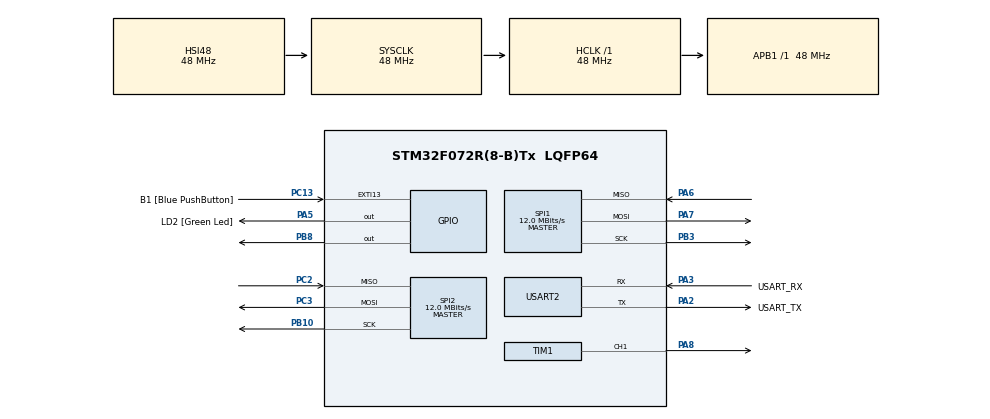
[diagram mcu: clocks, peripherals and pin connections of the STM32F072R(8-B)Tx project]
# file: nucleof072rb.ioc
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Mcu.Family=STM32F0
Mcu.Name=STM32F072R(8-B)Tx
Mcu.Package=LQFP64
PA13.GPIO_Label=TMS
PA13.Mode=Serial_Wire
PA13.Signal=SYS_SWDIO
PA14.GPIO_Label=TCK
PA14.Mode=Serial_Wire
PA14.Signal=SYS_SWCLK
PA2.GPIO_Label=USART_TX
PA2.GPIO_Mode=GPIO_MODE_AF_PP
PA2.GPIO_PuPd=GPIO_NOPULL
PA2.GPIO_Speed=GPIO_SPEED_FREQ_LOW
PA2.Mode=Asynchronous
PA2.Signal=USART2_TX
PA3.GPIO_Label=USART_RX
PA3.GPIO_Mode=GPIO_MODE_AF_PP
PA3.GPIO_PuPd=GPIO_NOPULL
PA3.GPIO_Speed=GPIO_SPEED_FREQ_LOW
PA3.Mode=Asynchronous
PA3.Signal=USART2_RX
PA5.GPIO_Label=LD2 [Green Led]
PA5.GPIO_Mode=GPIO_MODE_OUTPUT_PP
PA5.GPIO_PuPd=GPIO_NOPULL
PA5.GPIO_Speed=GPIO_SPEED_FREQ_LOW
PA5.Signal=GPIO_Output
PA6.Mode=Full_Duplex_Master
PA6.Signal=SPI1_MISO
PA7.Mode=Full_Duplex_Master
PA7.Signal=SPI1_MOSI
PA8.Signal=S_TIM1_CH1
PB10.Mode=Full_Duplex_Master
PB10.Signal=SPI2_SCK
PB3.Mode=Full_Duplex_Master
PB3.Signal=SPI1_SCK
PB8.Signal=GPIO_Output
PC13.GPIO_Label=B1 [Blue PushButton]
PC13.GPIO_ModeDefaultEXTI=GPIO_MODE_IT_FALLING
PC13.Signal=GPXTI13
PC14-OSC32_IN.Mode=LSE-External-Oscillator
PC14-OSC32_IN.Signal=RCC_OSC32_IN
PC15-OSC32_OUT.Mode=LSE-External-Oscillator
PC15-OSC32_OUT.Signal=RCC_OSC32_OUT
PC2.Mode=Full_Duplex_Master
PC2.Signal=SPI2_MISO
PC3.Mode=Full_Duplex_Master
PC3.Signal=SPI2_MOSI
PF0-OSC_IN.Mode=HSE-External-Clock-Source
PF0-OSC_IN.Signal=RCC_OSC_IN
PF1-OSC_OUT.Signal=RCC_OSC_OUT
ProjectManager.HeapSize=0x200
ProjectManager.StackSize=0x400
ProjectManager.TargetToolchain=STM32CubeIDE
RCC.AHBFreq_Value=48000000
RCC.APB1Freq_Value=48000000
RCC.APB1TimFreq_Value=48000000
RCC.FLatency-AdvancedSettings=FLASH_LATENCY_1
RCC.HCLKFreq_Value=48000000
RCC.PLLDivider=RCC_PREDIV_DIV2
RCC.PLLMUL=RCC_PLL_MUL12
RCC.PREFETCH_ENABLE-AdvancedSettings=1
RCC.SYSCLKFreq_VALUE=48000000
RCC.SYSCLKSource=RCC_SYSCLKSOURCE_HSI48
SH.S_TIM1_CH1.0=TIM1_CH1,PWM Generation1 CH1
SPI1.BaudRatePrescaler=SPI_BAUDRATEPRESCALER_4
SPI1.CalculateBaudRate=12.0 MBits/s
SPI1.DataSize=SPI_DATASIZE_8BIT
SPI1.Direction=SPI_DIRECTION_2LINES
SPI1.Mode=SPI_MODE_MASTER
SPI1.VirtualType=VM_MASTER
SPI2.BaudRatePrescaler=SPI_BAUDRATEPRESCALER_4
SPI2.CalculateBaudRate=12.0 MBits/s
SPI2.DataSize=SPI_DATASIZE_8BIT
SPI2.Direction=SPI_DIRECTION_2LINES
SPI2.Mode=SPI_MODE_MASTER
SPI2.VirtualType=VM_MASTER
TIM1.Channel-PWM\ Generation1\ CH1=TIM_CHANNEL_1
TIM1.Prescaler=95
USART2.VirtualMode=VM_ASYNC
USART2.VirtualMode-Asynchronous=VM_ASYNC
VP_TIM1_VS_ClockSourceINT.Mode=Internal
board=NUCLEO-F072RB

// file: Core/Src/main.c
/* USER CODE BEGIN Header */
/**
  ******************************************************************************
  * @file           : main.c
  * @brief          : Main program body
  ******************************************************************************
  * @attention
  *
  * <h2><center>&copy; Copyright (c) 2021 STMicroelectronics.
  * All rights reserved.</center></h2>
  *
  * This software component is licensed by ST under BSD 3-Clause license,
  * the "License"; You may not use this file except in compliance with the
  * License. You may obtain a copy of the License at:
  *                        opensource.org/licenses/BSD-3-Clause
  *
  ******************************************************************************
  */
/* USER CODE END Header */
#include "main.h"
#include "spi.h"
#include "tim.h"
#include "usart.h"
#include "gpio.h"

/* USER CODE BEGIN PV */
uint8_t tx_buffer[3];   // Bytes sent to ADC
uint8_t rx_buffer[3];   // Bytes received from ADC
uint16_t adc_value;
#define adc_channel 0
/* USER CODE END PV */

void SystemClock_Config(void);

int main(void)
{

  /* MCU Configuration--------------------------------------------------------*/

  /* Reset of all peripherals, Initializes the Flash interface and the Systick. */
  HAL_Init();

  /* Configure the system clock */
  SystemClock_Config();

  /* Initialize all configured peripherals */
  MX_GPIO_Init();
  MX_USART2_UART_Init();
  MX_SPI1_Init();
  MX_SPI2_Init();
  MX_TIM1_Init();

  /* USER CODE BEGIN 2 */
  HAL_TIM_PWM_Start(&htim1, TIM_CHANNEL_1); // start PWM
  /* USER CODE END 2 */

  /* Infinite loop */
  /* USER CODE BEGIN WHILE */
  while(1)
  {
      adc_value = read_adc(adc_channel);

      uint16_t pulse_counts = (adc_value * 65535) / 1023;

      __HAL_TIM_SET_COMPARE(&htim1, TIM_CHANNEL_1, pulse_counts);

      HAL_Delay(10);
  }

  /* USER CODE END 3 */
}

/* USER CODE BEGIN 4 */
uint16_t read_adc(uint8_t channel)
{
    uint16_t value = 0;

    HAL_GPIO_WritePin(GPIOA, GPIO_PIN_4, GPIO_PIN_RESET);
    tx_buffer[0] = 0x01;
    tx_buffer[1] = 0x80 | (channel << 4);
    tx_buffer[2] = 0x00;

    HAL_SPI_TransmitReceive(&hspi1, tx_buffer, rx_buffer, 3, HAL_MAX_DELAY);

    HAL_GPIO_WritePin(GPIOA, GPIO_PIN_4, GPIO_PIN_SET);

    value = ((rx_buffer[1] & 0x03) << 8) | rx_buffer[2];

    return value;
}
/* USER CODE END 4 */

void SystemClock_Config(void)
{
  RCC_OscInitTypeDef rcc_osc_init_struct = {0};
  RCC_ClkInitTypeDef rcc_clk_init_struct = {0};
  RCC_PeriphCLKInitTypeDef periph_clk_init = {0};

  /** Initializes the RCC Oscillators according to the specified parameters
  * in the RCC_OscInitTypeDef structure.
  */
  rcc_osc_init_struct.OscillatorType = RCC_OSCILLATORTYPE_HSI48;
  rcc_osc_init_struct.HSI48State = RCC_HSI48_ON;
  rcc_osc_init_struct.PLL.PLLState = RCC_PLL_NONE;
  if (HAL_RCC_OscConfig(&rcc_osc_init_struct) != HAL_OK)
  {
    Error_Handler();
  }
  /** Initializes the CPU, AHB and APB buses clocks
  */
  rcc_clk_init_struct.ClockType = RCC_CLOCKTYPE_HCLK|RCC_CLOCKTYPE_SYSCLK
                              |RCC_CLOCKTYPE_PCLK1;
  rcc_clk_init_struct.SYSCLKSource = RCC_SYSCLKSOURCE_HSI48;
  rcc_clk_init_struct.AHBCLKDivider = RCC_SYSCLK_DIV1;
  rcc_clk_init_struct.APB1CLKDivider = RCC_HCLK_DIV1;

  if (HAL_RCC_ClockConfig(&rcc_clk_init_struct, FLASH_LATENCY_1) != HAL_OK)
  {
    Error_Handler();
  }
  periph_clk_init.PeriphClockSelection = RCC_PERIPHCLK_USART2;
  periph_clk_init.Usart2ClockSelection = RCC_USART2CLKSOURCE_PCLK1;
  if (HAL_RCCEx_PeriphCLKConfig(&periph_clk_init) != HAL_OK)
  {
    Error_Handler();
  }
}

void Error_Handler(void)
{
  __disable_irq();
  while (1)
  {
  }
}

#ifdef  USE_FULL_ASSERT
/**
  * @brief  Reports the name of the source file and the source line number
  *         where the assert_param error has occurred.
  * @param  file: pointer to the source file name
  * @param  line: assert_param error line source number
  * @retval None
  */
void assert_failed(uint8_t *file, uint32_t line)
{
  /* USER CODE BEGIN 6 */
  /* User can add implementation to report file/line, e.g., printf */
  /* USER CODE END 6 */
}
#endif /* USE_FULL_ASSERT */

/************************ (C) COPYRIGHT STMicroelectronics *****END OF FILE****/
